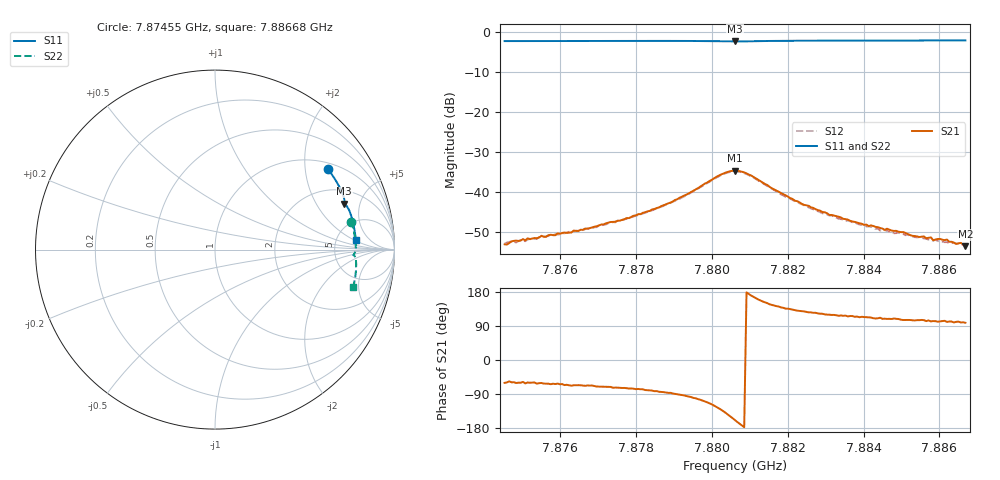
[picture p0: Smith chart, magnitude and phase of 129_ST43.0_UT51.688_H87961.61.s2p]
#  HZ  S  DB  R  50.00
! Rohde & Schwarz Vector Network Analyzer
! Rohde-Schwarz,ZNB20-2Port,1311601062101988,3.16
! Created: UTC 1/12/2023, 6:38:51 PM
! freq[Hz]  db:S11  ang:S11  db:S21  ang:S21  db:S12  ang:S12  db:S22  ang:S22
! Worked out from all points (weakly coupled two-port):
!   201 points, 7.87455 GHz to 7.88668 GHz, reference 50 ohm
!   highest |S21| = -34.70 dB at 7.88062 GHz (marker M1); lowest = -53.6 dB at 7.88668 GHz (marker M2)
!   lowest |S11| = -2.3 dB at 7.88062 GHz (marker M3), VSWR 7.46, Z = 145 + j177 ohm
!   |S11| at or under -10 dB: nowhere
!   |S22| runs from -2.3 to -2.0 dB; largest |S21 - S12| = 0.0012
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7.874551e9  -2.25 35.6  -53.15 -60.3  -52.99 -61.2  -2.22 11.5
7.875037e9  -2.24 34.3  -51.85 -57.9  -52.28 -61.9  -2.18 10.4
7.875097e9  -2.24 34.1  -52.15 -61.8  -52.37 -63.5  -2.19 10.2
7.876613e9  -2.21 30.0  -49.52 -67.3  -49.56 -70.4  -2.14 6.6
7.877827e9  -2.20 26.6  -46.59 -75.2  -46.42 -78.0  -2.11 3.8
7.878615e9  -2.20 24.4  -43.92 -83.8  -44.11 -86.0  -2.11 1.9
7.879343e9  -2.21 22.4  -40.69 -95.3  -40.86 -98.4  -2.12 0.2
7.880253e9  -2.31 20.0  -35.64 -131.3  -35.79 -134.9  -2.21 -1.9
7.880617e9  -2.34 19.6  -34.70 -158.7  -34.92 -162.0  -2.25 -2.2
7.88092e9  -2.31 19.3  -35.39 178.4  -35.53 174.7  -2.22 -2.3
7.882194e9  -2.16 15.9  -42.22 131.5  -42.33 127.9  -2.06 -5.0
7.882679e9  -2.15 14.6  -44.04 124.6  -44.38 120.9  -2.03 -6.1
7.883103e9  -2.13 13.4  -45.80 119.5  -45.95 117.0  -2.02 -7.1
7.884013e9  -2.12 11.0  -48.28 113.4  -48.36 110.2  -2.00 -9.2
7.88468e9  -2.11 9.3  -49.49 108.5  -50.08 106.6  -1.98 -10.6
7.885287e9  -2.10 7.7  -51.03 104.8  -51.17 102.5  -1.98 -12.0
7.885772e9  -2.09 6.4  -51.41 101.8  -51.96 100.0  -1.97 -13.1
7.885833e9  -2.10 6.2  -52.11 102.7  -52.26 101.1  -1.97 -13.2
7.886197e9  -2.09 5.3  -51.95 100.5  -52.58 98.4  -1.96 -14.0
7.886439e9  -2.09 4.7  -53.04 100.7  -53.02 97.1  -1.96 -14.5
7.886561e9  -2.09 4.4  -52.79 99.0  -53.21 95.1  -1.96 -14.8
7.886682e9  -2.09 4.1  -53.62 98.3  -53.25 95.7  -1.97 -15.0
